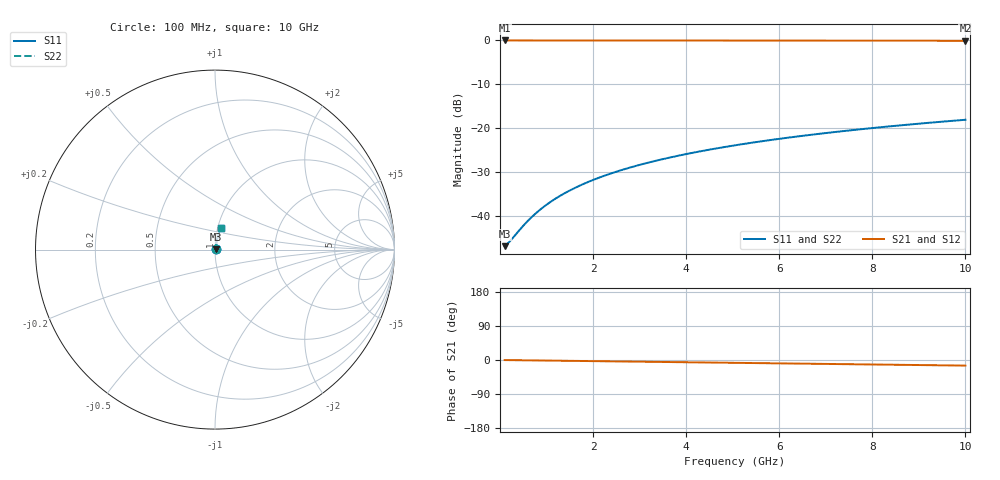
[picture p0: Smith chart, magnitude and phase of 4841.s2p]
# Hz S RI R 50.00
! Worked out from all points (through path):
!   100 points, 100 MHz to 10 GHz, reference 50 ohm
!   highest |S21| = -0.04 dB at 100 MHz (marker M1); lowest = -0.1 dB at 10 GHz (marker M2)
!   group delay of S21, straight-line fit = 4.11 ps
!   lowest |S11| = -46.9 dB at 100 MHz (marker M3), VSWR 1.01, Z = 50.4 + j0.126 ohm
!   |S11| at or under -10 dB: start of sweep to end of sweep
!   |S22| runs from -46.9 to -18.1 dB; largest |S21 - S12| = 0
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1e8  0.00432 0.00125  0.9957 -0.00257  0.9957 -0.00257  0.00432 0.00125
2e8  0.00436 0.0025  0.9956 -0.00515  0.9956 -0.00515  0.00436 0.0025
5e8  0.00448 0.00624  0.9955 -0.0129  0.9955 -0.0129  0.00448 0.00624
6e8  0.00453 0.00748  0.9954 -0.0154  0.9954 -0.0154  0.00453 0.00748
7e8  0.00458 0.00873  0.9954 -0.018  0.9954 -0.018  0.00458 0.00873
9e8  0.0047 0.0112  0.9952 -0.0232  0.9952 -0.0232  0.0047 0.0112
1.1e9  0.00485 0.0137  0.995 -0.0283  0.995 -0.0283  0.00485 0.0137
1.3e9  0.00502 0.0162  0.9948 -0.0334  0.9948 -0.0334  0.00502 0.0162
1.5e9  0.00521 0.0187  0.9946 -0.0386  0.9946 -0.0386  0.00521 0.0187
1.8e9  0.00555 0.0224  0.9941 -0.0463  0.9941 -0.0463  0.00555 0.0224
2.1e9  0.00594 0.0261  0.9936 -0.054  0.9936 -0.054  0.00594 0.0261
2.5e9  0.00655 0.0311  0.9929 -0.0642  0.9929 -0.0642  0.00655 0.0311
2.9e9  0.00727 0.036  0.992 -0.0745  0.992 -0.0745  0.00727 0.036
3.4e9  0.0083 0.0422  0.9906 -0.0873  0.9906 -0.0873  0.0083 0.0422
3.8e9  0.00924 0.047  0.9894 -0.0975  0.9894 -0.0975  0.00924 0.047
4.2e9  0.0103 0.0519  0.9881 -0.1077  0.9881 -0.1077  0.0103 0.0519
5.1e9  0.013 0.0628  0.9847 -0.1305  0.9847 -0.1305  0.013 0.0628
5.9e9  0.0158 0.0723  0.981 -0.1507  0.981 -0.1507  0.0158 0.0723
6.7e9  0.019 0.0817  0.9769 -0.1707  0.9769 -0.1707  0.019 0.0817
7.5e9  0.0226 0.091  0.9723 -0.1907  0.9723 -0.1907  0.0226 0.091
8.4e9  0.0271 0.1012  0.9665 -0.2129  0.9665 -0.2129  0.0271 0.1012
1e10  0.0362 0.1187  0.9548 -0.2518  0.9548 -0.2518  0.0362 0.1187
